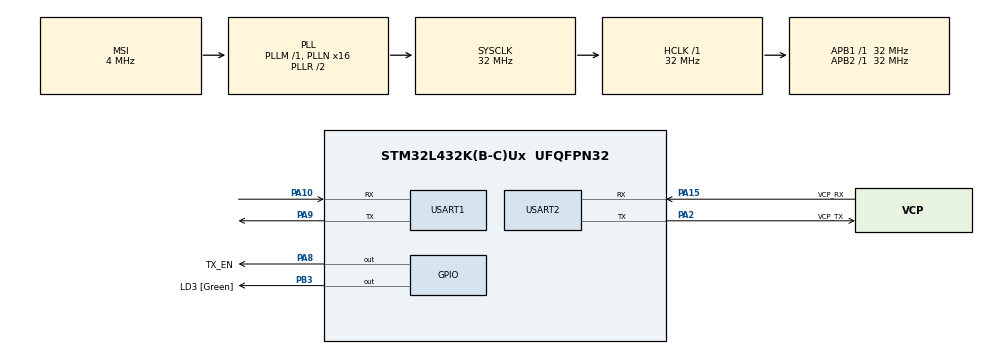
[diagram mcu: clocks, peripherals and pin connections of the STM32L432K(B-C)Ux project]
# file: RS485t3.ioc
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Mcu.Family=STM32L4
Mcu.Name=STM32L432K(B-C)Ux
Mcu.Package=UFQFPN32
NVIC.PriorityGroup=NVIC_PRIORITYGROUP_4
PA0.GPIO_Label=MCO [High speed clock in]
PA0.Mode=HSE-External-Clock-Source-for-LittleOrca
PA0.Signal=RCC_CK_IN
PA10.Mode=Asynchronous
PA10.Signal=USART1_RX
PA13\ (JTMS-SWDIO).GPIO_Label=SWDIO
PA13\ (JTMS-SWDIO).Mode=Serial_Wire
PA13\ (JTMS-SWDIO).Signal=SYS_JTMS-SWDIO
PA14\ (JTCK-SWCLK).GPIO_Label=SWCLK
PA14\ (JTCK-SWCLK).Mode=Serial_Wire
PA14\ (JTCK-SWCLK).Signal=SYS_JTCK-SWCLK
PA15\ (JTDI).GPIO_Label=VCP_RX
PA15\ (JTDI).Mode=Asynchronous
PA15\ (JTDI).Signal=USART2_RX
PA2.GPIO_Label=VCP_TX
PA2.Mode=Asynchronous
PA2.Signal=USART2_TX
PA8.GPIO_Label=TX_EN
PA8.Signal=GPIO_Output
PA9.Mode=Asynchronous
PA9.Signal=USART1_TX
PB3\ (JTDO-TRACESWO).GPIO_Label=LD3 [Green]
PB3\ (JTDO-TRACESWO).Signal=GPIO_Output
PC14-OSC32_IN\ (PC14).Mode=LSE-External-Oscillator
PC14-OSC32_IN\ (PC14).Signal=RCC_OSC32_IN
PC15-OSC32_OUT\ (PC15).Mode=LSE-External-Oscillator
PC15-OSC32_OUT\ (PC15).Signal=RCC_OSC32_OUT
ProjectManager.HeapSize=0x200
ProjectManager.StackSize=0x400
ProjectManager.TargetToolchain=STM32CubeIDE
RCC.AHBFreq_Value=32000000
RCC.APB1Freq_Value=32000000
RCC.APB1TimFreq_Value=32000000
RCC.APB2Freq_Value=32000000
RCC.APB2TimFreq_Value=32000000
RCC.CortexFreq_Value=32000000
RCC.HCLKFreq_Value=32000000
RCC.HSE_VALUE=8000000
RCC.HSI16_VALUE=16000000
RCC.HSI48_VALUE=48000000
RCC.HSI_VALUE=16000000
RCC.MSI_VALUE=4000000
RCC.PLLMUL=RCC_PLLMUL_4
RCC.PLLN=16
RCC.SYSCLKFreq_VALUE=32000000
RCC.SYSCLKSource=RCC_SYSCLKSOURCE_PLLCLK
RCC.VCOOutputFreq_Value=64000000
USART1.VirtualMode-Asynchronous=VM_ASYNC
USART2.VirtualMode-Asynchronous=VM_ASYNC
board=NUCLEO-L432KC

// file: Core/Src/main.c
/* USER CODE BEGIN Header */
/**
  ******************************************************************************
  * @file           : main.c
  * @brief          : Main program body
  ******************************************************************************
  * @attention
  *
  * Copyright (c) 2024 STMicroelectronics.
  * All rights reserved.
  *
  * This software is licensed under terms that can be found in the LICENSE file
  * in the root directory of this software component.
  * If no LICENSE file comes with this software, it is provided AS-IS.
  *
  ******************************************************************************
  */

 /***********************************************************************

										|chYappy v1|

| Start Marker (1 byte) | Length (1 byte) | Sensor Type (1 byte) | Sensor ID (1 byte) | Payload (N bytes) | Checksum (1 byte) |

 ***********************************************************************/

/* USER CODE END Header */
#include "main.h"

/* USER CODE BEGIN Includes */
#include "stdio.h"
#include "string.h"
/* USER CODE END Includes */

UART_HandleTypeDef huart1;
UART_HandleTypeDef huart2;

/* USER CODE BEGIN PV */
#define START_MARKER 0x7E
/* USER CODE END PV */

void SystemClock_Config(void);
static void MX_GPIO_Init(void);
static void MX_USART2_UART_Init(void);
static void MX_USART1_UART_Init(void);

/* USER CODE BEGIN 0 */

void send_message(uint8_t sensor_type, uint8_t sensor_id, uint8_t *payload, uint8_t length) {
    uint8_t message[length + 5];
    uint8_t checksum = 0;

    message[0] = START_MARKER;
    message[1] = length;
    message[2] = sensor_type;
    message[3] = sensor_id;

    for (uint8_t i = 0; i < length; i++) {
        message[4 + i] = payload[i];
        checksum ^= payload[i];
    }

    message[length + 4] = checksum;

    HAL_GPIO_WritePin(TX_EN_GPIO_Port, TX_EN_Pin, 1);
    HAL_UART_Transmit(&huart1, message, length + 5, HAL_MAX_DELAY);
    HAL_GPIO_WritePin(TX_EN_GPIO_Port, TX_EN_Pin, 0);
}

/* USER CODE END 0 */

int main(void)
{

  /* MCU Configuration--------------------------------------------------------*/

  /* Reset of all peripherals, Initializes the Flash interface and the Systick. */
  HAL_Init();

  /* Configure the system clock */
  SystemClock_Config();

  /* Initialize all configured peripherals */
  MX_GPIO_Init();
  MX_USART2_UART_Init();
  MX_USART1_UART_Init();

  /* Infinite loop */
  while (1)
  {
	  	//Example call Thermocouple1 T1 value 25.3662
	  	uint8_t sensor_type = 'T';
	    uint8_t sensor_id = 1;
	    float sensor_value = 25.3662;
	    char payload[10];

	    snprintf(payload, sizeof(payload), "%.4f", sensor_value);
	    uint8_t length = strlen(payload);

	    send_message(sensor_type, sensor_id, (uint8_t *)payload, length);
		HAL_Delay(2000);
  }
}

void SystemClock_Config(void)
{
  RCC_OscInitTypeDef RCC_OscInitStruct = {0};
  RCC_ClkInitTypeDef RCC_ClkInitStruct = {0};

  /** Configure the main internal regulator output voltage
  */
  if (HAL_PWREx_ControlVoltageScaling(PWR_REGULATOR_VOLTAGE_SCALE1) != HAL_OK)
  {
    Error_Handler();
  }

  /** Configure LSE Drive Capability
  */
  HAL_PWR_EnableBkUpAccess();
  __HAL_RCC_LSEDRIVE_CONFIG(RCC_LSEDRIVE_LOW);

  /** Initializes the RCC Oscillators according to the specified parameters
  * in the RCC_OscInitTypeDef structure.
  */
  RCC_OscInitStruct.OscillatorType = RCC_OSCILLATORTYPE_LSE|RCC_OSCILLATORTYPE_MSI;
  RCC_OscInitStruct.LSEState = RCC_LSE_ON;
  RCC_OscInitStruct.MSIState = RCC_MSI_ON;
  RCC_OscInitStruct.MSICalibrationValue = 0;
  RCC_OscInitStruct.MSIClockRange = RCC_MSIRANGE_6;
  RCC_OscInitStruct.PLL.PLLState = RCC_PLL_ON;
  RCC_OscInitStruct.PLL.PLLSource = RCC_PLLSOURCE_MSI;
  RCC_OscInitStruct.PLL.PLLM = 1;
  RCC_OscInitStruct.PLL.PLLN = 16;
  RCC_OscInitStruct.PLL.PLLP = RCC_PLLP_DIV7;
  RCC_OscInitStruct.PLL.PLLQ = RCC_PLLQ_DIV2;
  RCC_OscInitStruct.PLL.PLLR = RCC_PLLR_DIV2;
  if (HAL_RCC_OscConfig(&RCC_OscInitStruct) != HAL_OK)
  {
    Error_Handler();
  }

  /** Initializes the CPU, AHB and APB buses clocks
  */
  RCC_ClkInitStruct.ClockType = RCC_CLOCKTYPE_HCLK|RCC_CLOCKTYPE_SYSCLK
                              |RCC_CLOCKTYPE_PCLK1|RCC_CLOCKTYPE_PCLK2;
  RCC_ClkInitStruct.SYSCLKSource = RCC_SYSCLKSOURCE_PLLCLK;
  RCC_ClkInitStruct.AHBCLKDivider = RCC_SYSCLK_DIV1;
  RCC_ClkInitStruct.APB1CLKDivider = RCC_HCLK_DIV1;
  RCC_ClkInitStruct.APB2CLKDivider = RCC_HCLK_DIV1;

  if (HAL_RCC_ClockConfig(&RCC_ClkInitStruct, FLASH_LATENCY_1) != HAL_OK)
  {
    Error_Handler();
  }

  /** Enable MSI Auto calibration
  */
  HAL_RCCEx_EnableMSIPLLMode();
}

static void MX_USART1_UART_Init(void)
{

  huart1.Instance = USART1;
  huart1.Init.BaudRate = 115200;
  huart1.Init.WordLength = UART_WORDLENGTH_8B;
  huart1.Init.StopBits = UART_STOPBITS_1;
  huart1.Init.Parity = UART_PARITY_NONE;
  huart1.Init.Mode = UART_MODE_TX_RX;
  huart1.Init.HwFlowCtl = UART_HWCONTROL_NONE;
  huart1.Init.OverSampling = UART_OVERSAMPLING_16;
  huart1.Init.OneBitSampling = UART_ONE_BIT_SAMPLE_DISABLE;
  huart1.AdvancedInit.AdvFeatureInit = UART_ADVFEATURE_NO_INIT;
  if (HAL_UART_Init(&huart1) != HAL_OK)
  {
    Error_Handler();
  }

}

static void MX_USART2_UART_Init(void)
{

  huart2.Instance = USART2;
  huart2.Init.BaudRate = 115200;
  huart2.Init.WordLength = UART_WORDLENGTH_8B;
  huart2.Init.StopBits = UART_STOPBITS_1;
  huart2.Init.Parity = UART_PARITY_NONE;
  huart2.Init.Mode = UART_MODE_TX_RX;
  huart2.Init.HwFlowCtl = UART_HWCONTROL_NONE;
  huart2.Init.OverSampling = UART_OVERSAMPLING_16;
  huart2.Init.OneBitSampling = UART_ONE_BIT_SAMPLE_DISABLE;
  huart2.AdvancedInit.AdvFeatureInit = UART_ADVFEATURE_NO_INIT;
  if (HAL_UART_Init(&huart2) != HAL_OK)
  {
    Error_Handler();
  }

}

static void MX_GPIO_Init(void)
{
  GPIO_InitTypeDef GPIO_InitStruct = {0};

  /* GPIO Ports Clock Enable */
  __HAL_RCC_GPIOC_CLK_ENABLE();
  __HAL_RCC_GPIOA_CLK_ENABLE();
  __HAL_RCC_GPIOB_CLK_ENABLE();

  /*Configure GPIO pin Output Level */
  HAL_GPIO_WritePin(TX_EN_GPIO_Port, TX_EN_Pin, GPIO_PIN_RESET);

  /*Configure GPIO pin Output Level */
  HAL_GPIO_WritePin(LD3_GPIO_Port, LD3_Pin, GPIO_PIN_RESET);

  /*Configure GPIO pin : TX_EN_Pin */
  GPIO_InitStruct.Pin = TX_EN_Pin;
  GPIO_InitStruct.Mode = GPIO_MODE_OUTPUT_PP;
  GPIO_InitStruct.Pull = GPIO_NOPULL;
  GPIO_InitStruct.Speed = GPIO_SPEED_FREQ_LOW;
  HAL_GPIO_Init(TX_EN_GPIO_Port, &GPIO_InitStruct);

  /*Configure GPIO pin : LD3_Pin */
  GPIO_InitStruct.Pin = LD3_Pin;
  GPIO_InitStruct.Mode = GPIO_MODE_OUTPUT_PP;
  GPIO_InitStruct.Pull = GPIO_NOPULL;
  GPIO_InitStruct.Speed = GPIO_SPEED_FREQ_LOW;
  HAL_GPIO_Init(LD3_GPIO_Port, &GPIO_InitStruct);

}

void Error_Handler(void)
{
  __disable_irq();
  while (1)
  {
  }
}
